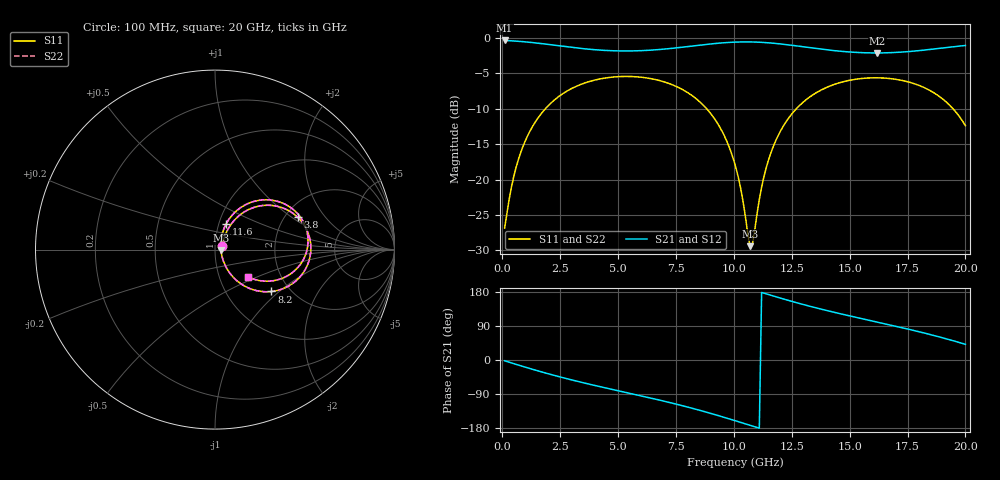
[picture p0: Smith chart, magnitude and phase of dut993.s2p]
! Touchstone file exported from HFSS 2026.1.0
!  File:  C:/ffzhzh/LocalFiles/Ansys_Project_Files/temp_train_TSV_RDL_993_1783288938_39728.aedt
!  Generated:  06:20:07 AM Jul  6, 2026
!  Design:  TSV_RDL
!  Project:  temp_train_TSV_RDL_993_1783288938_39728
! Variables:
!  h_bsmrdl = 2.45um
!  h_ox = 20um
!  h_rdl = 5um
!  h_sub = 60.18um
!  h_tmrdl = 4um
!  h_tsv = 60.18um
!  h_via = 3um
!  l_bsmrdl = 675.6um
!  l_sub = 5520.72um
!  l_tmrdl = 745.82um
!  m_sub = 200um
!  pitch = 37.74um
!  r_tsv = 2.35um
!  s_tmrdl = 10um
!  w_bsmrdl = 24.74um
!  w_sub = 500um
!  w_tmrdl = 12.14um
!  x_tsv_center1 = 751.89um
!  x_tsv_center2 = 1452.23um
!  x_tsv_center3 = 2210.19um
!  x_tsv_center4 = 2910.53um
!  x_tsv_center5 = 3668.49um
!  x_tsv_center6 = 4368.83um
# GHz S MA R 50.000000
! Terminal data exported
! Port[1] = TM_RDL1_1_T1
! Port[2] = TM_RDL5_1_T1
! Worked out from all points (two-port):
!   200 points, 100 MHz to 20 GHz, reference 50 ohm
!   highest |S21| = -0.36 dB at 100 MHz (marker M1); lowest = -2.1 dB at 16.2 GHz (marker M2)
!   |S21| within 3 dB of the highest: start of sweep to end of sweep
!   lowest |S11| = -29.4 dB at 10.7 GHz (marker M3), VSWR 1.07, Z = 53.5 - j0.478 ohm
!   |S11| at or under -10 dB: start of sweep to 1.862 GHz; 8.825 GHz to 12.7 GHz (3.875 GHz wide, 36 % of centre); 19.46 GHz to end of sweep
!   |S22| runs from -29.5 to -5.4 dB; largest |S21 - S12| = 1.7e-14
!   S11 on the Smith chart (normalised r, x): 100 MHz: 1.09, +0.04; 3.8 GHz: 2.33, +1.12; 8.2 GHz: 1.61, -0.89; 11.6 GHz: 1.08, +0.31; 20 GHz: 1.37, -0.44
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0.1  0.04547 24.5  0.9591 -2.0  0.9591 -2.0  0.04547 24.5
! Gamma 0 0 0 0
! Port Impedance 50 0 50 0
0.6  0.1226 57.0  0.9488 -11.6  0.9488 -11.6  0.1226 57.0
1.2  0.2204 55.4  0.9305 -22.7  0.9305 -22.7  0.2204 55.4
2.2  0.3586 43.1  0.89 -39.9  0.89 -39.9  0.3586 43.1
3.5  0.4767 25.4  0.8391 -60.1  0.8391 -60.1  0.4767 25.4
3.8  0.4942 21.5  0.83 -64.4  0.83 -64.4  0.4943 21.5
5.3  0.5344 2.2  0.8083 -85.2  0.8083 -85.2  0.5344 2.2
6.8  0.4993 -17.2  0.8281 -105.9  0.8281 -105.9  0.4993 -17.3
8.2  0.3911 -36.6  0.8758 -127.3  0.8758 -127.3  0.3911 -36.7
9.3  0.2487 -52.0  0.9162 -146.2  0.9162 -146.2  0.2487 -52.1
10.1  0.1193 -57.8  0.9343 -161.0  0.9343 -161.0  0.1192 -58.0
10.7  0.03386 -7.6  0.9365 -172.3  0.9365 -172.3  0.03347 -7.8
10.8  0.03467 21.1  0.9359 -174.2  0.9359 -174.2  0.03428 21.2
11.2  0.08836 64.1  0.9302 178.2  0.9302 178.2  0.08818 64.4
11.6  0.1543 66.6  0.9203 170.8  0.9203 170.8  0.1542 66.7
12.4  0.2764 58.3  0.891 156.5  0.891 156.5  0.2763 58.4
13.4  0.3952 44.6  0.8478 139.9  0.8478 139.9  0.3951 44.7
14.9  0.498 24.7  0.7974 117.8  0.7974 117.8  0.498 24.8
16.2  0.5226 8.5  0.783 100.0  0.783 100.0  0.5226 8.5
16.7  0.5172 2.2  0.7857 93.1  0.7857 93.1  0.5172 2.3
18.6  0.4136 -22.3  0.8333 65.3  0.8333 65.3  0.4136 -22.2
20  0.2401 -39.6  0.8838 41.4  0.8838 41.4  0.2402 -39.5
